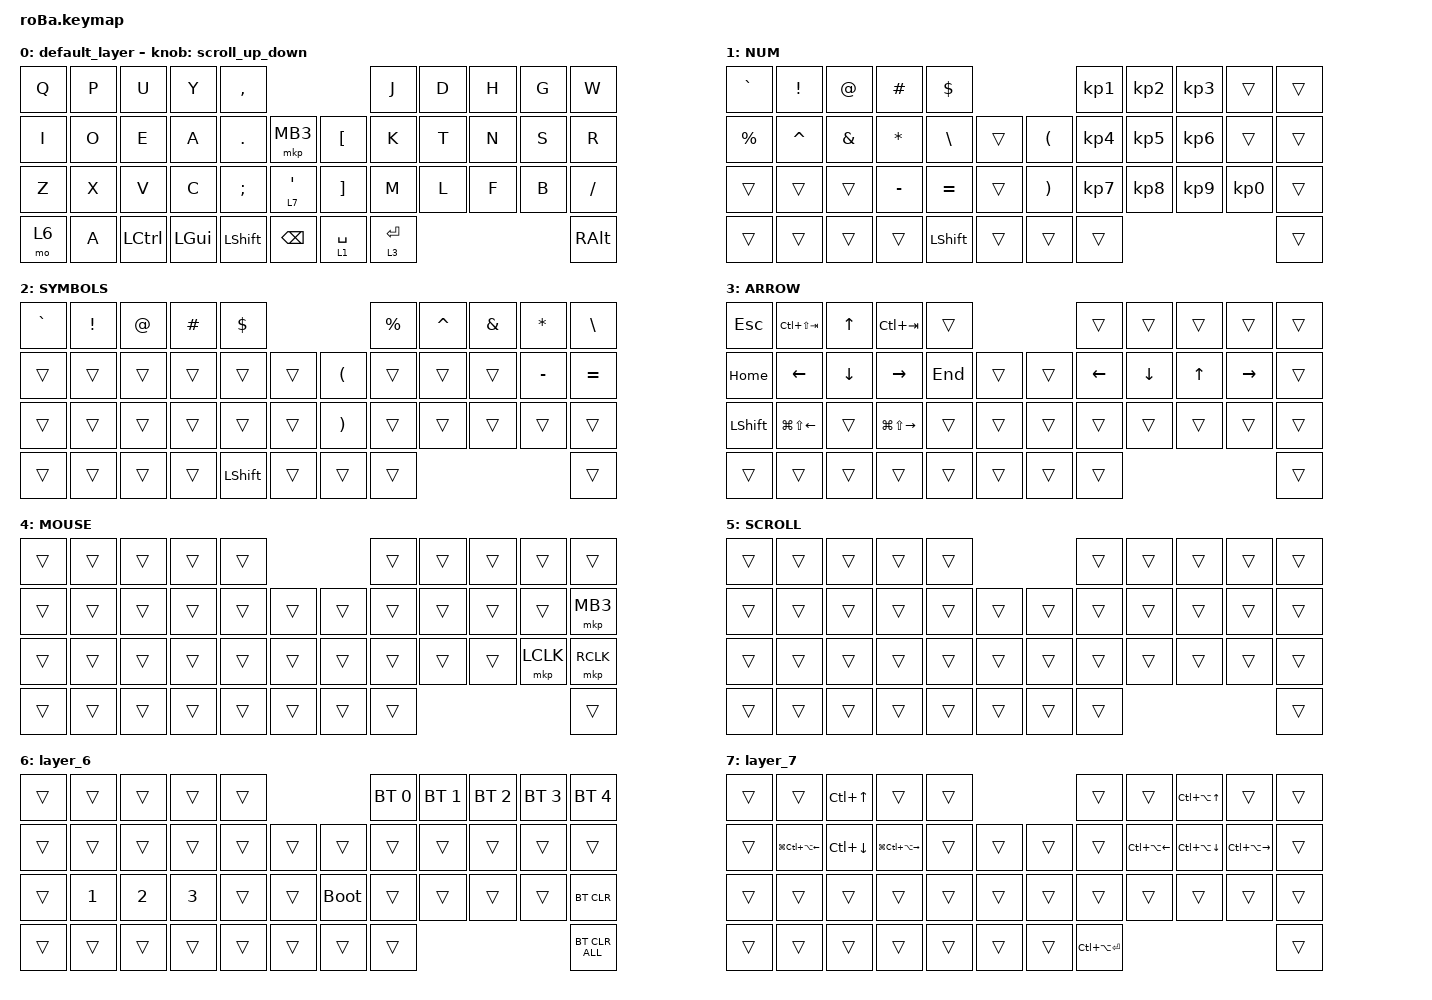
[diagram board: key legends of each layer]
#include <behaviors.dtsi>
#include <dt-bindings/zmk/bt.h>
#include <dt-bindings/zmk/keys.h>
#include <dt-bindings/zmk/pointing.h>

#define ZMK_POINTING_DEFAULT_SCRL_VAL 100

&mt {
    flavor = "balanced";
    quick-tap-ms = <0>;
};

&trackball {
    automouse-layer = <4>;
    scroll-layers = <5>;

    // arrows {
    //     layers = <3>;
    //     bindings =
    //         <&kp RIGHT_ARROW>,
    //         <&kp LEFT_ARROW>,
    //         <&kp UP_ARROW>,
    //         <&kp DOWN_ARROW>;
    //     tick = <10>;
    //     wait-ms = <5>;
    //     tap-ms = <5>;
    // };
};

/ {
    combos {
        compatible = "zmk,combos";

        tab {
            bindings = <&kp TAB>;
            key-positions = <11 12>;
        };

        shift_tab {
            bindings = <&kp LS(TAB)>;
            key-positions = <12 13>;
        };
    };

    macros {
        to_layer_0: to_layer_0 {
            compatible = "zmk,behavior-macro-one-param";
            #binding-cells = <1>;
            bindings = <&to 0 &macro_param_1to1 &kp MACRO_PLACEHOLDER>;
            label = "TO_LAYER_0";
        };
    };

    behaviors {
        lt_to_layer_0: lt_to_layer_0 {
            compatible = "zmk,behavior-hold-tap";
            label = "LAYER_TAP_TO_0";
            bindings = <&mo>, <&to_layer_0>;

            #binding-cells = <2>;
            tapping-term-ms = <200>;
        };

        scroll_up_down: behavior_sensor_rotate_mouse_wheel_up_down {
            compatible = "zmk,behavior-sensor-rotate";
            #sensor-binding-cells = <0>;
            bindings = <&msc SCRL_UP>, <&msc SCRL_DOWN>;

            tap-ms = <20>;
        };
    };

    keymap {
        compatible = "zmk,keymap";

        default_layer {
            bindings = <
&kp Q  &kp P  &kp U      &kp Y         &kp COMMA                                             &kp J        &kp D  &kp H  &kp G  &kp W
&kp I  &kp O  &kp E      &kp A         &kp PERIOD      &mkp MB3           &kp LEFT_BRACKET   &kp K        &kp T  &kp N  &kp S  &kp R
&kp Z  &kp X  &kp V      &kp C         &kp SEMICOLON   &lt 7 SQT          &kp RIGHT_BRACKET  &kp M        &kp L  &kp F  &kp B  &kp SLASH
&mo 6  &kp A  &kp LCTRL  &kp LEFT_GUI  &kp LEFT_SHIFT  &kp BACKSPACE      &lt 1 SPACE        &lt 3 ENTER                       &kp RALT
            >;

            sensor-bindings = <&scroll_up_down>;
        };

        NUM {
            bindings = <
&kp GRAVE    &kp EXCLAMATION  &kp AT_SIGN    &kp HASH      &kp DOLLAR                                         &kp KP_NUMBER_1  &kp KP_NUMBER_2  &kp KP_NUMBER_3  &trans           &trans
&kp PERCENT  &kp CARET        &kp AMPERSAND  &kp ASTERISK  &kp BACKSLASH   &trans      &kp LEFT_PARENTHESIS   &kp KP_NUMBER_4  &kp KP_NUMBER_5  &kp KP_NUMBER_6  &trans           &trans
&trans       &trans           &trans         &kp MINUS     &kp EQUAL       &trans      &kp RIGHT_PARENTHESIS  &kp KP_NUMBER_7  &kp KP_NUMBER_8  &kp KP_NUMBER_9  &kp KP_NUMBER_0  &trans
&trans       &trans           &trans         &trans        &kp LEFT_SHIFT  &trans      &trans                 &trans                                                              &trans
            >;
        };

        SYMBOLS {
            bindings = <
&kp GRAVE  &kp EXCLAMATION  &kp AT_SIGN  &kp HASH  &kp DOLLAR                                         &kp PERCENT  &kp CARET  &kp AMPERSAND  &kp ASTERISK  &kp BACKSLASH
&trans     &trans           &trans       &trans    &trans          &trans      &kp LEFT_PARENTHESIS   &trans       &trans     &trans         &kp MINUS     &kp EQUAL
&trans     &trans           &trans       &trans    &trans          &trans      &kp RIGHT_PARENTHESIS  &trans       &trans     &trans         &trans        &trans
&trans     &trans           &trans       &trans    &kp LEFT_SHIFT  &trans      &trans                 &trans                                               &trans
            >;
        };

        ARROW {
            bindings = <
&kp ESCAPE      &kp LC(LS(TAB))         &kp UP_ARROW    &kp LC(TAB)              &trans                       &trans          &trans          &trans  &trans     &trans
&kp HOME        &kp LEFT_ARROW          &kp DOWN_ARROW  &kp RIGHT_ARROW          &kp END  &trans      &trans  &kp LEFT_ARROW  &kp DOWN_ARROW  &kp UP  &kp RIGHT  &trans
&kp LEFT_SHIFT  &kp LG(LS(LEFT_ARROW))  &trans          &kp LG(LS(RIGHT_ARROW))  &trans   &trans      &trans  &trans          &trans          &trans  &trans     &trans
&trans          &trans                  &trans          &trans                   &trans   &trans      &trans  &trans                                             &trans
            >;
        };

        MOUSE {
            bindings = <
&trans  &trans  &trans  &trans  &trans                      &trans  &trans  &trans  &trans     &trans
&trans  &trans  &trans  &trans  &trans  &trans      &trans  &trans  &trans  &trans  &trans     &mkp MB3
&trans  &trans  &trans  &trans  &trans  &trans      &trans  &trans  &trans  &trans  &mkp LCLK  &mkp RCLK
&trans  &trans  &trans  &trans  &trans  &trans      &trans  &trans                             &trans
            >;
        };

        SCROLL {
            bindings = <
&trans  &trans  &trans  &trans  &trans                      &trans  &trans  &trans  &trans  &trans
&trans  &trans  &trans  &trans  &trans  &trans      &trans  &trans  &trans  &trans  &trans  &trans
&trans  &trans  &trans  &trans  &trans  &trans      &trans  &trans  &trans  &trans  &trans  &trans
&trans  &trans  &trans  &trans  &trans  &trans      &trans  &trans                          &trans
            >;
        };

        layer_6 {
            bindings = <
&trans  &trans        &trans        &trans        &trans                           &bt BT_SEL 0  &bt BT_SEL 1  &bt BT_SEL 2  &bt BT_SEL 3  &bt BT_SEL 4
&trans  &trans        &trans        &trans        &trans  &trans      &trans       &trans        &trans        &trans        &trans        &trans
&trans  &kp NUMBER_1  &kp NUMBER_2  &kp NUMBER_3  &trans  &trans      &bootloader  &trans        &trans        &trans        &trans        &bt BT_CLR
&trans  &trans        &trans        &trans        &trans  &trans      &trans       &trans                                                  &bt BT_CLR_ALL
            >;
        };

        layer_7 {
            bindings = <
&trans  &trans                &kp LC(UP_ARROW)    &trans                 &trans                      &trans             &trans                  &kp LC(LA(UP))          &trans             &trans
&trans  &kp LG(LC(LA(LEFT)))  &kp LC(DOWN_ARROW)  &kp LG(LC(LA(RIGHT)))  &trans  &trans      &trans  &trans             &kp LC(LA(LEFT_ARROW))  &kp LC(LA(DOWN_ARROW))  &kp LC(LA(RIGHT))  &trans
&trans  &trans                &trans              &trans                 &trans  &trans      &trans  &trans             &trans                  &trans                  &trans             &trans
&trans  &trans                &trans              &trans                 &trans  &trans      &trans  &kp LC(LA(ENTER))                                                                     &trans
            >;
        };
    };
};
